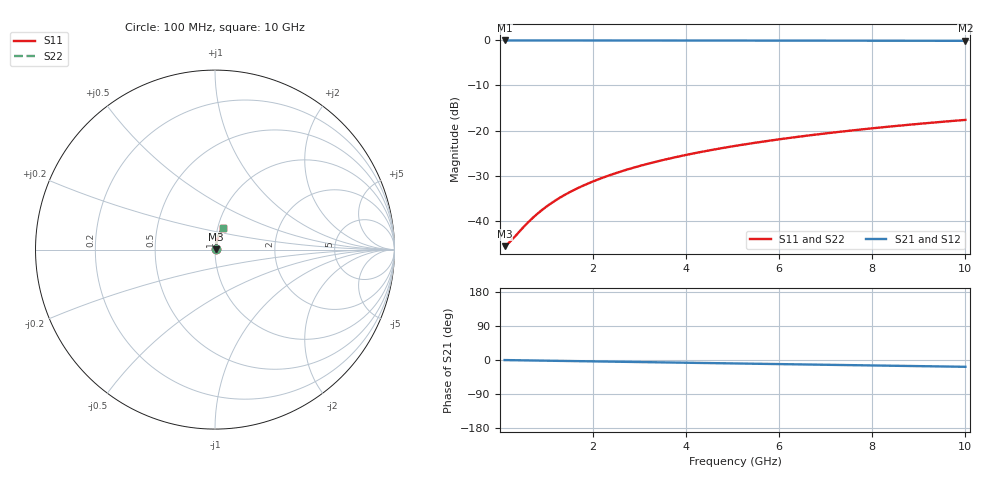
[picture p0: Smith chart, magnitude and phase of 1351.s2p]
# Hz S RI R 50.00
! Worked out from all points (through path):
!   100 points, 100 MHz to 10 GHz, reference 50 ohm
!   highest |S21| = -0.04 dB at 100 MHz (marker M1); lowest = -0.1 dB at 10 GHz (marker M2)
!   group delay of S21, straight-line fit = 4.99 ps
!   lowest |S11| = -45.6 dB at 100 MHz (marker M3), VSWR 1.01, Z = 50.5 + j0.134 ohm
!   |S11| at or under -10 dB: start of sweep to end of sweep
!   |S22| runs from -45.6 to -17.6 dB; largest |S21 - S12| = 0
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1e8  0.00506 0.00132  0.9949 -0.00313  0.9949 -0.00313  0.00506 0.00132
2e8  0.00511 0.00265  0.9949 -0.00626  0.9949 -0.00626  0.00511 0.00265
6e8  0.00532 0.00794  0.9946 -0.0188  0.9946 -0.0188  0.00532 0.00794
7e8  0.00538 0.00926  0.9945 -0.0219  0.9945 -0.0219  0.00538 0.00926
9e8  0.00554 0.0119  0.9943 -0.0282  0.9943 -0.0282  0.00554 0.0119
1.1e9  0.00572 0.0145  0.9941 -0.0344  0.9941 -0.0344  0.00572 0.0145
1.3e9  0.00594 0.0172  0.9938 -0.0407  0.9938 -0.0407  0.00594 0.0172
1.5e9  0.00619 0.0198  0.9934 -0.0469  0.9934 -0.0469  0.00619 0.0198
1.8e9  0.00662 0.0238  0.9928 -0.0563  0.9928 -0.0563  0.00662 0.0238
2.1e9  0.00713 0.0277  0.9921 -0.0656  0.9921 -0.0656  0.00713 0.0277
2.5e9  0.00792 0.0329  0.991 -0.0781  0.991 -0.0781  0.00792 0.0329
2.9e9  0.00883 0.0381  0.9897 -0.0905  0.9897 -0.0905  0.00883 0.0381
3.4e9  0.0102 0.0446  0.9879 -0.106  0.9879 -0.106  0.0102 0.0446
3.8e9  0.0114 0.0497  0.9862 -0.1184  0.9862 -0.1184  0.0114 0.0497
4.2e9  0.0127 0.0548  0.9843 -0.1307  0.9843 -0.1307  0.0127 0.0548
4.6e9  0.0142 0.0599  0.9823 -0.143  0.9823 -0.143  0.0142 0.0599
5.1e9  0.0162 0.0662  0.9795 -0.1583  0.9795 -0.1583  0.0162 0.0662
5.9e9  0.0198 0.0761  0.9744 -0.1827  0.9744 -0.1827  0.0198 0.0761
6.7e9  0.0239 0.0857  0.9687 -0.2068  0.9687 -0.2068  0.0239 0.0857
7.5e9  0.0284 0.0952  0.9622 -0.2307  0.9622 -0.2307  0.0284 0.0952
8.4e9  0.0341 0.1055  0.9541 -0.2573  0.9541 -0.2573  0.0341 0.1055
1e10  0.0456 0.123  0.9378 -0.3036  0.9378 -0.3036  0.0456 0.123
